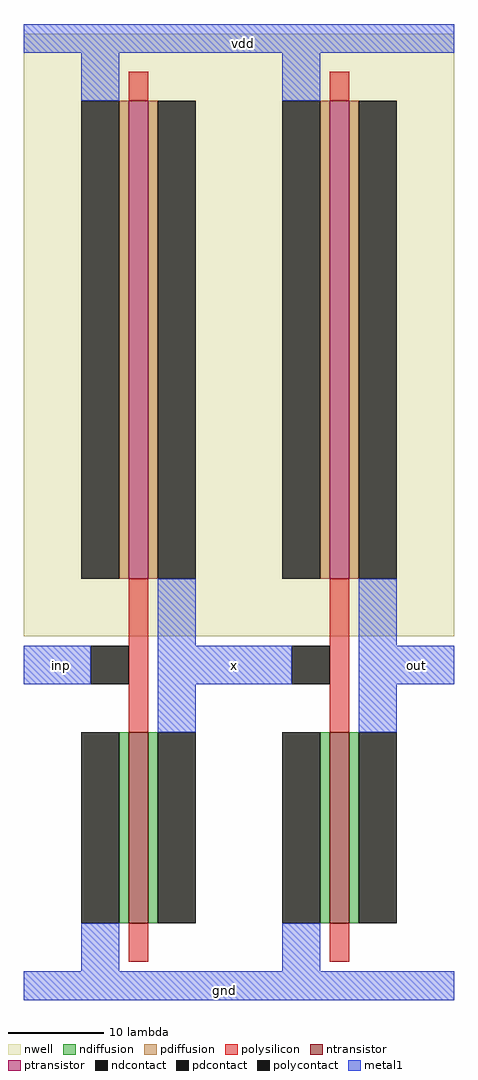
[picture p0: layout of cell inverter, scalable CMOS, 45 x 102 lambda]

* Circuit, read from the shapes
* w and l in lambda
.subckt inverter gnd inp out vdd x
M1 x inp gnd VSUBS nfet w=20 l=2
M2 out x gnd VSUBS nfet w=20 l=2
M3 x inp vdd n1 pfet w=50 l=2
M4 out x vdd n1 pfet w=50 l=2
.ends

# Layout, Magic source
magic
tech scmos
<< nwell >>
rect -9 0 36 63
<< ntransistor >>
rect 2 -30 4 -10
rect 23 -30 25 -10
<< ptransistor >>
rect 2 6 4 56
rect 23 6 25 56
<< ndiffusion >>
rect 1 -30 2 -10
rect 4 -30 5 -10
rect 22 -30 23 -10
rect 25 -30 26 -10
<< pdiffusion >>
rect 1 6 2 56
rect 4 6 5 56
rect 22 6 23 56
rect 25 6 26 56
<< ndcontact >>
rect -3 -30 1 -10
rect 5 -30 9 -10
rect 18 -30 22 -10
rect 26 -30 30 -10
<< pdcontact >>
rect -3 6 1 56
rect 5 6 9 56
rect 18 6 22 56
rect 26 6 30 56
<< polysilicon >>
rect 2 56 4 59
rect 23 56 25 59
rect 2 -10 4 6
rect 23 -10 25 6
rect 2 -34 4 -30
rect 23 -34 25 -30
<< polycontact >>
rect -2 -5 2 -1
rect 19 -5 23 -1
<< metal1 >>
rect -9 61 36 64
rect -3 56 1 61
rect 18 56 22 61
rect 5 -1 9 6
rect 26 -1 30 6
rect -9 -5 -2 -1
rect 5 -5 19 -1
rect 26 -5 36 -1
rect 5 -10 9 -5
rect 26 -10 30 -5
rect -3 -35 1 -30
rect 18 -35 22 -30
rect -9 -38 36 -35
<< labels >>
rlabel metal1 12 -37 12 -37 1 gnd
rlabel metal1 -5 -3 -5 -3 3 inp
rlabel metal1 32 -3 32 -3 7 out
rlabel metal1 13 -3 13 -3 1 x
rlabel metal1 14 62 14 62 5 vdd
<< end >>
